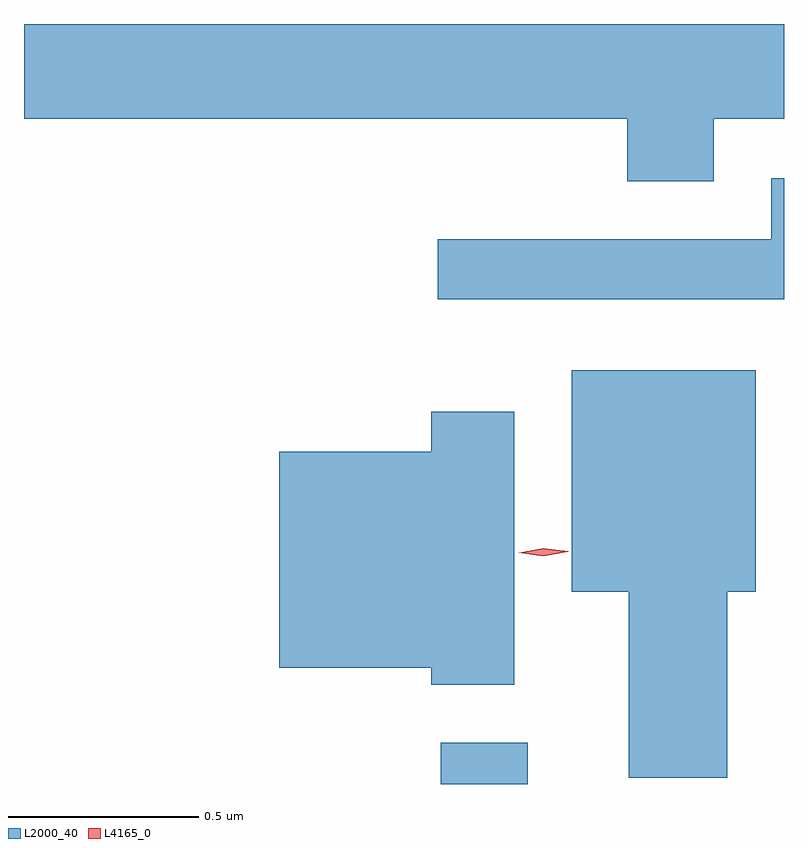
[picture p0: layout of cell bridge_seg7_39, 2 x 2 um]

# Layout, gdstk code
import gdstk
lib = gdstk.Library(unit=1e-6, precision=1e-09)
def R(c, l, rs):  # rectangles x0, y0, x1, y1
    for r in rs: c.add(gdstk.rectangle(r[:2], r[2:], *l))
def P(c, l, *ps):  # polygons
    for p in ps: c.add(gdstk.Polygon(p, *l))
L2000_40 = (2000, 40)
L4165_0 = (4165, 0)

bridge_seg7_39 = lib.new_cell('bridge_seg7_39')
R(bridge_seg7_39, L2000_40, [(1728.251,1750.305,1728.479,1750.414)])
P(bridge_seg7_39, L2000_40, [(1728.969,1752.056),(1729.154,1752.056),(1729.154,1752.305),(1727.154,1752.305),(1727.154,1752.056),(1728.741,1752.056),(1728.741,1751.891),(1728.969,1751.891)],
  [(1729.154,1751.899),(1729.121,1751.899),(1729.121,1751.739),(1728.243,1751.739),(1728.243,1751.581),(1729.154,1751.581)],
  [(1729.004,1750.811),(1729.079,1750.811),(1729.079,1751.394),(1728.596,1751.394),(1728.596,1750.811),(1728.746,1750.811),(1728.746,1750.321),(1729.004,1750.321)],
  [(1728.444,1751.284),(1728.226,1751.284),(1728.226,1751.179),(1727.826,1751.179),(1727.826,1750.611),(1728.226,1750.611),(1728.226,1750.566),(1728.444,1750.566)])
P(bridge_seg7_39, L4165_0, [(1728.521,1750.905),(1728.456,1750.913),(1728.456,1750.913),(1728.456,1750.914),(1728.521,1750.925),(1728.586,1750.917),(1728.586,1750.916),(1728.586,1750.916)])

lib.write_gds('bridge_seg7_39.gds')
